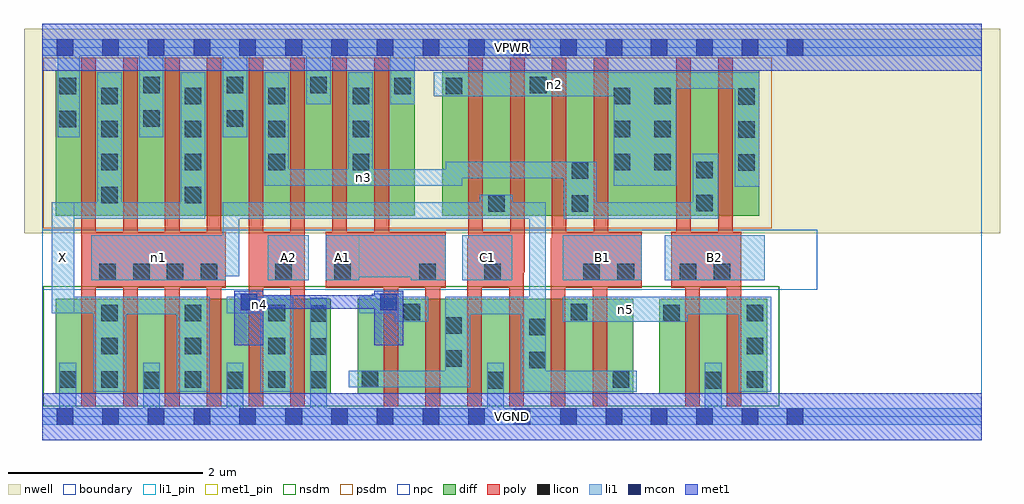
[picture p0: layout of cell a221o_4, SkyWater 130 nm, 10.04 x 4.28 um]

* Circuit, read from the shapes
.subckt a221o_4 A1 A2 B1 B2 C1 VGND VPWR X n1 n2 n3 n4 n5
XM1 X n1 VGND VSUBS sky130_fd_pr__nfet_01v8 w=0.98 l=0.15 m=4
XM2 n4 A2 VGND VSUBS sky130_fd_pr__nfet_01v8 w=0.98 l=0.15 m=2
XM3 n4 A1 n1 VSUBS sky130_fd_pr__nfet_01v8 w=0.98 l=0.15 m=2
XM4 VGND C1 n1 VSUBS sky130_fd_pr__nfet_01v8 w=0.98 l=0.15 m=2
XM5 n5 B1 n1 VSUBS sky130_fd_pr__nfet_01v8 w=0.98 l=0.15 m=2
XM6 VGND B2 n5 VSUBS sky130_fd_pr__nfet_01v8 w=0.98 l=0.15 m=2
XM7 X n1 VPWR n6 sky130_fd_pr__pfet_01v8 w=1.5 l=0.15 m=4
XM8 n3 A2 VPWR n6 sky130_fd_pr__pfet_01v8 w=1.5 l=0.15 m=2
XM9 n3 A1 VPWR n6 sky130_fd_pr__pfet_01v8 w=1.5 l=0.15 m=2
XM10 n1 C1 n2 n6 sky130_fd_pr__pfet_01v8 w=1.5 l=0.15 m=2
XM11 n3 B1 n2 n6 sky130_fd_pr__pfet_01v8 w=1.5 l=0.15 m=2
XM12 n3 B2 n2 n6 sky130_fd_pr__pfet_01v8 w=1.5 l=0.15 m=2
.ends

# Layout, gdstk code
import gdstk
lib = gdstk.Library(unit=1e-6, precision=1e-09)
def R(c, l, rs):  # rectangles x0, y0, x1, y1
    for r in rs: c.add(gdstk.rectangle(r[:2], r[2:], *l))
def A(c, l, x, y, w, h, nx, ny, dx, dy):  # array of equal rectangles
    R(c, l, [(x+i*dx, y+j*dy, x+i*dx+w, y+j*dy+h) for i in range(nx) for j in range(ny)])
nwell = (64, 20)
diff = (65, 20)
poly = (66, 20)
licon = (66, 44)
li1_pin = (67, 16)
li1 = (67, 20)
mcon = (67, 44)
met1_pin = (68, 16)
met1 = (68, 20)
nsdm = (93, 44)
psdm = (94, 20)
npc = (95, 20)
boundary = (235, 4)

a221o_4 = lib.new_cell('a221o_4')
R(a221o_4, nwell, [(-0.19,1.885,9.85,3.99), (0,1.885,9.66,3.99)])
R(a221o_4, diff, [(0.135,0.235,2.965,1.215), (3.245,0.235,6.075,1.215), (6.345,0.235,7.455,1.215), (0.135,2.065,3.83,3.565), (4.11,2.065,7.375,3.565)])
A(a221o_4, poly, 0.4, 0.105, 0.15, 3.59, 6, 1, 0.43, 0)
A(a221o_4, poly, 3.94, 0.105, 0.15, 1.8, 3, 1, 0.86, 0)
R(a221o_4, poly, [(3.51,0.105,3.66,1.905), (4.37,0.105,4.52,1.83), (5.23,0.105,5.38,1.835), (6.61,0.105,6.76,1.905), (7.04,0.105,7.19,1.905), (0.4,1.325,1.885,1.905), (2.12,1.325,2.7,1.905), (2.915,1.325,4.15,1.905), (2.98,1.325,3.13,3.695), (3.415,1.325,3.565,3.695), (4.38,1.325,4.53,3.695), (4.38,1.325,4.8,1.905), (5.24,1.325,5.39,3.695), (5.24,1.325,6.165,1.905), (5.67,1.325,5.82,3.695), (6.47,1.325,7.19,1.905), (6.52,1.325,6.67,3.695), (6.95,1.325,7.1,3.695), (4.81,1.485,4.96,3.695)])
A(a221o_4, licon, 2.755, 0.295, 0.17, 0.17, 1, 3, 0, 0.34)
A(a221o_4, licon, 0.605, 0.3, 0.17, 0.17, 3, 3, 0.86, 0.34)
A(a221o_4, licon, 7.245, 0.3, 0.17, 0.17, 1, 3, 0, 0.34)
A(a221o_4, licon, 7.155, 2.53, 0.17, 0.17, 1, 3, 0, 0.34)
A(a221o_4, licon, 0.605, 2.535, 0.17, 0.17, 3, 3, 0.86, 0.34)
A(a221o_4, licon, 3.19, 2.535, 0.17, 0.17, 1, 3, 0, 0.34)
A(a221o_4, licon, 5.875, 2.535, 0.17, 0.17, 1, 3, 0, 0.34)
A(a221o_4, licon, 6.295, 2.535, 0.17, 0.17, 1, 3, 0, 0.34)
A(a221o_4, licon, 1.035, 3.325, 0.17, 0.17, 3, 1, 0.86, 0)
R(a221o_4, licon, [(1.035,0.29,1.205,0.46), (1.895,0.29,2.065,0.46), (4.575,0.29,4.745,0.46), (6.815,0.29,6.985,0.46), (0.175,0.3,0.345,0.47), (5.865,0.3,6.035,0.47), (3.285,0.305,3.455,0.475), (5.005,0.5,5.175,0.67), (4.145,0.515,4.315,0.685), (5.005,0.84,5.175,1.01), (4.145,0.855,4.315,1.025), (6.385,0.98,6.555,1.15), (3.715,0.99,3.885,1.16), (5.435,0.99,5.605,1.16), (0.585,1.405,0.755,1.575), (0.935,1.405,1.105,1.575), (1.28,1.405,1.45,1.575), (1.63,1.405,1.8,1.575), (2.395,1.405,2.565,1.575), (3,1.405,3.17,1.575), (3.875,1.405,4.045,1.575), (4.545,1.405,4.715,1.575), (5.565,1.405,5.735,1.575), (5.915,1.405,6.085,1.575), (6.555,1.405,6.725,1.575), (6.905,1.405,7.075,1.575), (4.585,2.11,4.755,2.28), (5.445,2.11,5.615,2.28), (6.725,2.115,6.895,2.285), (0.605,2.195,0.775,2.365), (1.465,2.195,1.635,2.365), (5.445,2.45,5.615,2.62), (6.725,2.455,6.895,2.625), (0.175,2.975,0.345,3.145), (1.035,2.985,1.205,3.155), (1.895,2.985,2.065,3.155), (0.175,3.315,0.345,3.485), (3.62,3.315,3.79,3.485), (4.15,3.315,4.32,3.485), (5.015,3.325,5.185,3.495)])
R(a221o_4, li1_pin, [(0.095,1.065,0.325,2.205), (2.315,1.405,2.74,1.865), (2.915,1.405,3.26,1.865), (4.32,1.405,4.83,1.865), (5.35,1.405,6.165,1.865), (6.4,1.405,7.43,1.865)])
A(a221o_4, li1, 0.175, -0.085, 0.17, 0.64, 3, 1, 0.86, 0)
A(a221o_4, li1, 0.52, 0.255, 0.34, 0.98, 3, 1, 0.86, 0)
R(a221o_4, li1, [(0,-0.085,9.66,0.085), (2.755,-0.085,2.925,1.225), (4.575,-0.085,4.745,0.555), (6.815,-0.085,6.99,0.555), (4.92,0.255,6.115,0.475), (4.92,0.255,5.175,1.235), (5.005,0.255,5.175,2.205), (7.16,0.255,7.495,1.235), (3.15,0.305,4.4,0.475), (4.145,0.305,4.4,1.235), (3.625,0.975,3.97,1.235), (5.35,0.975,6.64,1.235), (0.52,1.055,1.72,1.235), (4.145,1.055,5.175,1.235), (5.35,1.055,7.495,1.235), (0.095,1.065,1.72,1.235), (0.095,1.065,0.325,2.205), (1.895,1.065,2.58,1.235), (1.985,1.065,2.21,1.265), (3.26,1.065,3.97,1.235), (3.385,1.065,3.69,1.265), (0.5,1.405,1.885,1.865), (2.315,1.405,2.74,1.865), (2.915,1.405,3.26,1.865), (3.79,1.405,4.15,1.865), (4.32,1.405,4.83,1.865), (5.35,1.405,6.165,1.865), (6.4,1.405,7.43,1.865), (2.915,1.435,4.15,1.865), (1.855,1.445,2.025,2.205), (0.095,2.035,1.675,2.205), (0.565,2.035,0.815,3.545), (1.425,2.035,1.675,3.545), (1.855,2.035,5.175,2.205), (4.5,2.035,4.84,2.285), (5.36,2.035,6.95,2.205), (5.36,2.035,5.7,2.625), (6.69,2.035,6.95,2.705), (7.12,2.365,7.375,3.545), (2.285,2.375,4.32,2.545), (2.285,2.375,2.535,3.545), (3.145,2.375,3.4,3.545), (5.875,2.375,6.52,3.545), (4.15,2.455,5.7,2.625), (0.155,2.875,0.385,3.885), (0.995,2.875,1.245,3.885), (1.855,2.875,2.105,3.885), (2.715,3.215,2.965,3.885), (3.575,3.215,3.83,3.885), (4.025,3.295,6.52,3.545), (4.025,3.375,7.375,3.545), (0,3.715,9.66,3.885)])
A(a221o_4, mcon, 0.145, -0.085, 0.17, 0.17, 5, 2, 0.47, 3.8)
A(a221o_4, mcon, 2.5, -0.085, 0.17, 0.17, 6, 2, 0.47, 3.8)
A(a221o_4, mcon, 6.255, -0.085, 0.17, 0.17, 3, 2, 0.47, 3.8)
R(a221o_4, mcon, [(5.325,-0.085,5.495,0.085), (5.795,-0.085,5.965,0.085), (7.655,-0.085,7.825,0.085), (2.04,1.095,2.21,1.265), (3.475,1.095,3.645,1.265), (5.325,3.715,5.495,3.885), (5.795,3.715,5.965,3.885), (7.655,3.715,7.825,3.885)])
R(a221o_4, met1_pin, [(0,-0.24,9.66,0.24), (0,3.56,9.66,4.04)])
R(a221o_4, met1, [(0,-0.24,9.66,0.24), (1.975,0.735,2.27,1.295), (3.415,0.735,3.71,1.295), (1.975,1.11,3.71,1.25), (0,3.56,9.66,4.04)])
R(a221o_4, nsdm, [(0.01,0.11,7.58,1.34)])
R(a221o_4, psdm, [(0.01,1.94,7.5,3.69)])
R(a221o_4, npc, [(0,1.305,7.97,1.925)])
R(a221o_4, boundary, [(0,0,9.66,3.8)])
a221o_4.add(gdstk.Label('A1', (3.087,1.635), layer=67, texttype=5))
a221o_4.add(gdstk.Label('A2', (2.527,1.635), layer=67, texttype=5))
a221o_4.add(gdstk.Label('B1', (5.757,1.635), layer=67, texttype=5))
a221o_4.add(gdstk.Label('B2', (6.915,1.635), layer=67, texttype=5))
a221o_4.add(gdstk.Label('C1', (4.575,1.635), layer=67, texttype=5))
a221o_4.add(gdstk.Label('X', (0.21,1.635), layer=67, texttype=5))
a221o_4.add(gdstk.Label('n5', (5.995,1.105), layer=67, texttype=5))
a221o_4.add(gdstk.Label('n4', (2.237,1.15), layer=67, texttype=5))
a221o_4.add(gdstk.Label('n1', (1.192,1.635), layer=67, texttype=5))
a221o_4.add(gdstk.Label('n3', (3.302,2.46), layer=67, texttype=5))
a221o_4.add(gdstk.Label('n2', (5.272,3.42), layer=67, texttype=5))
a221o_4.add(gdstk.Label('VPWR', (4.83,3.8), layer=68, texttype=5))
a221o_4.add(gdstk.Label('VGND', (4.83,0), layer=68, texttype=5))
a221o_4.add(gdstk.Label('A1', (3.087,1.635), layer=67, texttype=16))
a221o_4.add(gdstk.Label('A2', (2.527,1.635), layer=67, texttype=16))
a221o_4.add(gdstk.Label('B1', (5.757,1.635), layer=67, texttype=16))
a221o_4.add(gdstk.Label('B2', (6.915,1.635), layer=67, texttype=16))
a221o_4.add(gdstk.Label('C1', (4.575,1.635), layer=67, texttype=16))
a221o_4.add(gdstk.Label('X', (0.21,1.635), layer=67, texttype=16))
a221o_4.add(gdstk.Label('VPWR', (4.83,3.8), layer=68, texttype=16))
a221o_4.add(gdstk.Label('VGND', (4.83,0), layer=68, texttype=16))

lib.write_gds('a221o_4.gds')
